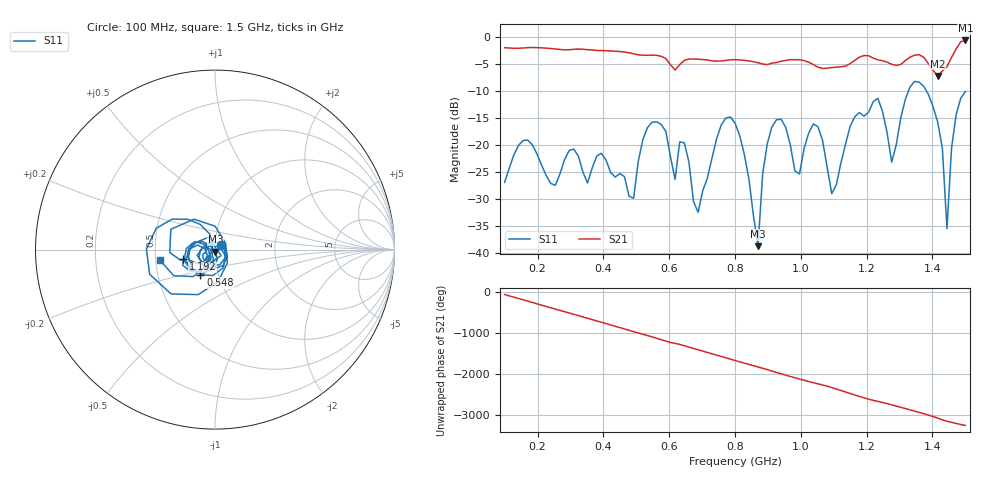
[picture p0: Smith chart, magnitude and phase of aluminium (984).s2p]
! NanoVNA-App
! Date: 2025-09-25 15:02:56
! Start: 100MHz Stop: 1,5GHz Points: 101
! S-Parameter data: F S11 S21 S12 S22
# Hz S RI R 50
!  Frequency  S11_Real  S11_Imag  S21_Real  S21_Imag  S12_Real  S12_Imag  S22_Real  S22_Imag
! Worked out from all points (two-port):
!   101 points, 100 MHz to 1.5 GHz, reference 50 ohm
!   highest |S21| = -0.58 dB at 1.5 GHz (marker M1); lowest = -7.2 dB at 1.416 GHz (marker M2)
!   |S21| within 3 dB of the highest: start of sweep to 577.6 MHz; 1.459 GHz to end of sweep (the widest 2 of 4)
!   lowest |S11| = -38.8 dB at 870 MHz (marker M3), VSWR 1.02, Z = 50.2 - j1.12 ohm
!   |S11| at or under -10 dB: start of sweep to 1.327 GHz; 1.382 GHz to end of sweep
!   S12 and S22 are empty: the file has one direction only
!   S11 on the Smith chart (normalised r, x): 100 MHz: 1.07, +0.06; 548 MHz: 0.82, -0.24; 1.192 GHz: 0.70, -0.08; 1.5 GHz: 0.53, -0.07
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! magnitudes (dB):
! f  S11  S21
! 100 MHz  -27.0  -1.9
! 156 MHz  -19.2  -2.0
! 338 MHz  -25.1  -2.2
! 492 MHz  -29.9  -3.1
! 548 MHz  -15.8  -3.3
! 576 MHz  -16.2  -3.5
! 646 MHz  -19.6  -4.3
! 688 MHz  -32.5  -4.1
! 800 MHz  -15.9  -4.1
! 870 MHz  -38.8  -4.7
! 912 MHz  -16.7  -4.8
! 996 MHz  -25.4  -4.2
! 1.038 GHz  -16.1  -5.1
! 1.094 GHz  -29.1  -5.6
! 1.192 GHz  -14.6  -3.4
! 1.234 GHz  -11.3  -4.2
! 1.276 GHz  -23.2  -5.0
! 1.346 GHz  -8.2  -3.3
! 1.416 GHz  -15.8  -7.2
! 1.444 GHz  -35.6  -5.5
! 1.458 GHz  -20.6  -3.7
! 1.5 GHz  -10.1  -0.6
